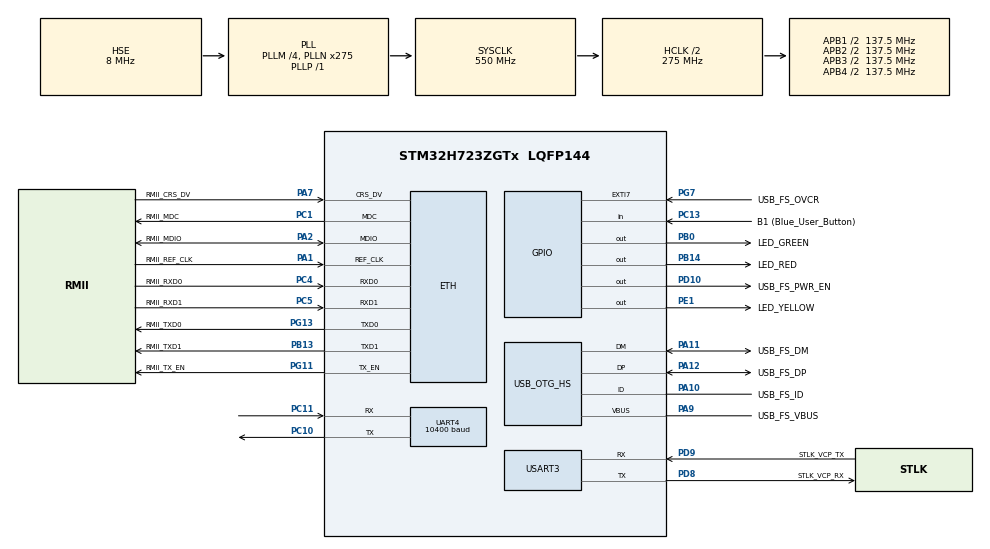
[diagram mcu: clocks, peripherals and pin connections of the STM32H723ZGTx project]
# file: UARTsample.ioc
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ETH.MediaInterface=HAL_ETH_RMII_MODE
Mcu.Family=STM32H7
Mcu.Name=STM32H723ZGTx
Mcu.Package=LQFP144
NVIC.PriorityGroup=NVIC_PRIORITYGROUP_4
NVIC.UART4_IRQn=true\:0\:0\:false\:false\:true\:true\:true\:true
PA1.GPIO_Label=RMII_REF_CLK
PA1.Mode=RMII
PA1.Signal=ETH_REF_CLK
PA10.GPIO_Label=USB_FS_ID
PA10.Mode=OTG/Dual-Role-Device-FS
PA10.Signal=USB_OTG_HS_ID
PA11.GPIO_Label=USB_FS_DM
PA11.Mode=OTG/Dual-Role-Device-FS
PA11.Signal=USB_OTG_HS_DM
PA12.GPIO_Label=USB_FS_DP
PA12.Mode=OTG/Dual-Role-Device-FS
PA12.Signal=USB_OTG_HS_DP
PA13(JTMS/SWDIO).GPIO_Label=SWDIO
PA13(JTMS/SWDIO).Mode=Trace_Asynchronous_SW
PA13(JTMS/SWDIO).Signal=DEBUG_JTMS-SWDIO
PA14(JTCK/SWCLK).GPIO_Label=SWCLK
PA14(JTCK/SWCLK).Mode=Trace_Asynchronous_SW
PA14(JTCK/SWCLK).Signal=DEBUG_JTCK-SWCLK
PA2.GPIO_Label=RMII_MDIO
PA2.Mode=RMII
PA2.Signal=ETH_MDIO
PA7.GPIO_Label=RMII_CRS_DV
PA7.Mode=RMII
PA7.Signal=ETH_CRS_DV
PA9.GPIO_Label=USB_FS_VBUS
PA9.Mode=Activate_VBUS_FS
PA9.Signal=USB_OTG_HS_VBUS
PB0.GPIO_Label=LED_GREEN
PB0.Signal=GPIO_Output
PB13.GPIO_Label=RMII_TXD1
PB13.Mode=RMII
PB13.Signal=ETH_TXD1
PB14.GPIO_Label=LED_RED
PB14.Signal=GPIO_Output
PB3(JTDO/TRACESWO).GPIO_Label=SWO
PB3(JTDO/TRACESWO).Mode=Trace_Asynchronous_SW
PB3(JTDO/TRACESWO).Signal=DEBUG_JTDO-SWO
PC1.GPIO_Label=RMII_MDC
PC1.Mode=RMII
PC1.Signal=ETH_MDC
PC10.Mode=Asynchronous
PC10.Signal=UART4_TX
PC11.Mode=Asynchronous
PC11.Signal=UART4_RX
PC13.GPIO_Label=B1 (Blue_User_Button)
PC13.Signal=GPIO_Input
PC14-OSC32_IN.Mode=LSE-External-Oscillator
PC14-OSC32_IN.Signal=RCC_OSC32_IN
PC15-OSC32_OUT.Mode=LSE-External-Oscillator
PC15-OSC32_OUT.Signal=RCC_OSC32_OUT
PC4.GPIO_Label=RMII_RXD0
PC4.Mode=RMII
PC4.Signal=ETH_RXD0
PC5.GPIO_Label=RMII_RXD1
PC5.Mode=RMII
PC5.Signal=ETH_RXD1
PD10.GPIO_Label=USB_FS_PWR_EN
PD10.Signal=GPIO_Output
PD8.GPIO_Label=STLK_VCP_RX
PD8.Mode=Asynchronous
PD8.Signal=USART3_TX
PD9.GPIO_Label=STLK_VCP_TX
PD9.Mode=Asynchronous
PD9.Signal=USART3_RX
PE1.GPIO_Label=LED_YELLOW
PE1.Signal=GPIO_Output
PG11.GPIO_Label=RMII_TX_EN
PG11.Mode=RMII
PG11.Signal=ETH_TX_EN
PG13.GPIO_Label=RMII_TXD0
PG13.Mode=RMII
PG13.Signal=ETH_TXD0
PG7.GPIO_Label=USB_FS_OVCR
PG7.Signal=GPXTI7
PH0-OSC_IN.GPIO_Label=MCO
PH0-OSC_IN.Mode=HSE-External-Clock-Source
PH0-OSC_IN.Signal=RCC_OSC_IN
PH1-OSC_OUT.Signal=RCC_OSC_OUT
ProjectManager.HeapSize=0x200
ProjectManager.StackSize=0x400
ProjectManager.TargetToolchain=STM32CubeIDE
RCC.ADCFreq_Value=76000000
RCC.APB1Freq_Value=137500000
RCC.APB2Freq_Value=137500000
RCC.APB3Freq_Value=137500000
RCC.APB4Freq_Value=137500000
RCC.CortexFreq_Value=550000000
RCC.D1PPRE=RCC_APB3_DIV2
RCC.D2PPRE1=RCC_APB1_DIV2
RCC.D2PPRE2=RCC_APB2_DIV2
RCC.D3PPRE=RCC_APB4_DIV2
RCC.DIVM1=4
RCC.DIVM2=1
RCC.DIVN1=275
RCC.DIVN2=19
RCC.DIVP1=1
RCC.DIVQ1=4
RCC.HCLKFreq_Value=275000000
RCC.HPRE=RCC_HCLK_DIV2
RCC.HSE_VALUE=8000000
RCC.PLLFRACN=0
RCC.PLLSourceVirtual=RCC_PLLSOURCE_HSE
RCC.SYSCLKFreq_VALUE=550000000
RCC.SYSCLKSource=RCC_SYSCLKSOURCE_PLLCLK
RCC.USBCLockSelection=RCC_USBCLKSOURCE_HSI48
RCC.USBFreq_Value=48000000
UART4.BaudRate=10400
USART3.VirtualMode-Asynchronous=VM_ASYNC
board=NUCLEO-H723ZG

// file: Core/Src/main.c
/* USER CODE BEGIN Header */
/**
  ******************************************************************************
  * @file           : main.c
  * @brief          : Main program body
  ******************************************************************************
  * @attention
  *
  * Copyright (c) 2024 STMicroelectronics.
  * All rights reserved.
  *
  * This software is licensed under terms that can be found in the LICENSE file
  * in the root directory of this software component.
  * If no LICENSE file comes with this software, it is provided AS-IS.
  *
  ******************************************************************************
  */
/* USER CODE END Header */
#include "main.h"
#include "string.h"

#if defined ( __ICCARM__ ) /*!< IAR Compiler */
#pragma location=0x30000000
ETH_DMADescTypeDef  DMARxDscrTab[ETH_RX_DESC_CNT]; /* Ethernet Rx DMA Descriptors */
#pragma location=0x30000200
ETH_DMADescTypeDef  DMATxDscrTab[ETH_TX_DESC_CNT]; /* Ethernet Tx DMA Descriptors */

#elif defined ( __CC_ARM )  /* MDK ARM Compiler */

__attribute__((at(0x30000000))) ETH_DMADescTypeDef  DMARxDscrTab[ETH_RX_DESC_CNT]; /* Ethernet Rx DMA Descriptors */
__attribute__((at(0x30000200))) ETH_DMADescTypeDef  DMATxDscrTab[ETH_TX_DESC_CNT]; /* Ethernet Tx DMA Descriptors */

#elif defined ( __GNUC__ ) /* GNU Compiler */
ETH_DMADescTypeDef DMARxDscrTab[ETH_RX_DESC_CNT] __attribute__((section(".RxDecripSection"))); /* Ethernet Rx DMA Descriptors */
ETH_DMADescTypeDef DMATxDscrTab[ETH_TX_DESC_CNT] __attribute__((section(".TxDecripSection")));   /* Ethernet Tx DMA Descriptors */

#endif

ETH_TxPacketConfig TxConfig;

ETH_HandleTypeDef heth;

UART_HandleTypeDef huart4;
UART_HandleTypeDef huart3;

void SystemClock_Config(void);
static void MX_GPIO_Init(void);
static void MX_ETH_Init(void);
static void MX_USART3_UART_Init(void);
static void MX_USB_OTG_HS_USB_Init(void);
static void MX_UART4_Init(void);

/* USER CODE BEGIN 0 */
#define BUFF_SIZE   (200)
#define CHAR_CR     (0x0d)
#define TRUE        (1)
#define FALSE       (0)

uint8_t flagRcved;              /* 受信完�?フラグ */
uint16_t rcvLength;             /* 受信???��?��??��?��?ータ数 */
uint8_t rcvBuffer[BUFF_SIZE];   /* 受信バッファ */
uint8_t sndBuffer[BUFF_SIZE];   /* 送信バッファ */

void HAL_UART_RxCpltCallback(UART_HandleTypeDef *huart)
{
    flagRcved = TRUE;           /* 受信完�?フラグ設???��?��??��?��? */
}

char* replace(char* s, const char* before, const char* after)
{

    const size_t before_len = strlen(before);
    if (before_len == 0) {
        return s;
    }

    const size_t after_len = strlen(after);
    char* p = s;

    for (;;) {

        // 置換する文字をを探す
        p = strstr(p, before);
        if (p == NULL) {
            // 見つからなければ、これ以上置換するものはないので終了する
            break;
        }

        // 置換対象にならない位置を計算
        const char* p2 = p + before_len;

        // 置換対象にならない位置(p2) 以降の文字を、置換の影響をうけない位置に移動
        memmove(p + after_len, p2, strlen(p2) + 1);

        // 置換する
        memcpy(p, after, after_len);

        // 探索開始位置をずらす
        p += after_len;
    }

    return s;
	}
/* USER CODE END 0 */

int main(void)
{

  /* MCU Configuration--------------------------------------------------------*/

  /* Reset of all peripherals, Initializes the Flash interface and the Systick. */
  HAL_Init();

  /* Configure the system clock */
  SystemClock_Config();

  /* Initialize all configured peripherals */
  MX_GPIO_Init();
  MX_ETH_Init();
  MX_USART3_UART_Init();
  MX_USB_OTG_HS_USB_Init();
  MX_UART4_Init();
  /* USER CODE BEGIN 2 */
  uint8_t msg[] = "hello world!\n\r";
  HAL_UART_Transmit(&huart4, msg, strlen((char*)msg), 100);
  /* USER CODE END 2 */

  /* Infinite loop */
  while (1)
  {
	  do
	      {
	        /* 受信割り込み開始 */
	        HAL_UART_Receive_IT(&huart4, rcvBuffer, 1);

	        /* 受信割り込み終了待ち */
	        while (flagRcved == FALSE)
	        {
	            ;
	        }

	        sndBuffer[rcvLength] = rcvBuffer[0];
	        rcvLength++;
	        flagRcved = FALSE;
	      } while ((rcvBuffer[0] != CHAR_CR) && (rcvLength < BUFF_SIZE));

	  	  /* ブレーク信号を送信 */
	  	  GPIO_InitTypeDef GPIO_InitStruct = {0};
	  	  //HAL_GPIO_DeInit(GPIOC, GPIO_PIN_10);
	  	  GPIO_InitStruct.Pin = GPIO_PIN_10;
	  	  GPIO_InitStruct.Mode = GPIO_MODE_OUTPUT_PP;
	  	  GPIO_InitStruct.Pull = GPIO_NOPULL;
	  	  GPIO_InitStruct.Speed = GPIO_SPEED_FREQ_LOW;
	  	  HAL_GPIO_Init(GPIOC, &GPIO_InitStruct);
	  	  HAL_GPIO_WritePin(GPIOC, GPIO_PIN_10, GPIO_PIN_RESET);
	  	  HAL_Delay(1000);
	  	  HAL_GPIO_WritePin(GPIOC, GPIO_PIN_10, GPIO_PIN_SET);

	  	  /* 再度UART TxピンをUARTに割り当て後、受信した内容を送信 */
	  	  GPIO_InitStruct.Pin = GPIO_PIN_10;
	  	  GPIO_InitStruct.Mode = GPIO_MODE_AF_PP;
	  	  GPIO_InitStruct.Pull = GPIO_NOPULL;
	  	  GPIO_InitStruct.Speed = GPIO_SPEED_FREQ_LOW;
	  	  GPIO_InitStruct.Alternate = GPIO_AF8_UART4;
	  	  HAL_GPIO_Init(GPIOC, &GPIO_InitStruct);
	  	  replace(sndBuffer, "BEFORE", "AFTER");
	      HAL_UART_Transmit_IT(&huart4, sndBuffer, rcvLength);
	      rcvLength = 0;
    /* USER CODE BEGIN 3 */
    /* USER CODE BEGIN 3 */
  }
  /* USER CODE END 3 */
}

void SystemClock_Config(void)
{
  RCC_OscInitTypeDef RCC_OscInitStruct = {0};
  RCC_ClkInitTypeDef RCC_ClkInitStruct = {0};

  /** Supply configuration update enable
  */
  HAL_PWREx_ConfigSupply(PWR_LDO_SUPPLY);

  /** Configure the main internal regulator output voltage
  */
  __HAL_PWR_VOLTAGESCALING_CONFIG(PWR_REGULATOR_VOLTAGE_SCALE0);

  while(!__HAL_PWR_GET_FLAG(PWR_FLAG_VOSRDY)) {}

  /** Initializes the RCC Oscillators according to the specified parameters
  * in the RCC_OscInitTypeDef structure.
  */
  RCC_OscInitStruct.OscillatorType = RCC_OSCILLATORTYPE_HSI48|RCC_OSCILLATORTYPE_HSE;
  RCC_OscInitStruct.HSEState = RCC_HSE_BYPASS;
  RCC_OscInitStruct.HSI48State = RCC_HSI48_ON;
  RCC_OscInitStruct.PLL.PLLState = RCC_PLL_ON;
  RCC_OscInitStruct.PLL.PLLSource = RCC_PLLSOURCE_HSE;
  RCC_OscInitStruct.PLL.PLLM = 4;
  RCC_OscInitStruct.PLL.PLLN = 275;
  RCC_OscInitStruct.PLL.PLLP = 1;
  RCC_OscInitStruct.PLL.PLLQ = 4;
  RCC_OscInitStruct.PLL.PLLR = 2;
  RCC_OscInitStruct.PLL.PLLRGE = RCC_PLL1VCIRANGE_1;
  RCC_OscInitStruct.PLL.PLLVCOSEL = RCC_PLL1VCOWIDE;
  RCC_OscInitStruct.PLL.PLLFRACN = 0;
  if (HAL_RCC_OscConfig(&RCC_OscInitStruct) != HAL_OK)
  {
    Error_Handler();
  }

  /** Initializes the CPU, AHB and APB buses clocks
  */
  RCC_ClkInitStruct.ClockType = RCC_CLOCKTYPE_HCLK|RCC_CLOCKTYPE_SYSCLK
                              |RCC_CLOCKTYPE_PCLK1|RCC_CLOCKTYPE_PCLK2
                              |RCC_CLOCKTYPE_D3PCLK1|RCC_CLOCKTYPE_D1PCLK1;
  RCC_ClkInitStruct.SYSCLKSource = RCC_SYSCLKSOURCE_PLLCLK;
  RCC_ClkInitStruct.SYSCLKDivider = RCC_SYSCLK_DIV1;
  RCC_ClkInitStruct.AHBCLKDivider = RCC_HCLK_DIV2;
  RCC_ClkInitStruct.APB3CLKDivider = RCC_APB3_DIV2;
  RCC_ClkInitStruct.APB1CLKDivider = RCC_APB1_DIV2;
  RCC_ClkInitStruct.APB2CLKDivider = RCC_APB2_DIV2;
  RCC_ClkInitStruct.APB4CLKDivider = RCC_APB4_DIV2;

  if (HAL_RCC_ClockConfig(&RCC_ClkInitStruct, FLASH_LATENCY_3) != HAL_OK)
  {
    Error_Handler();
  }
}

static void MX_ETH_Init(void)
{

   static uint8_t MACAddr[6];

  heth.Instance = ETH;
  MACAddr[0] = 0x00;
  MACAddr[1] = 0x80;
  MACAddr[2] = 0xE1;
  MACAddr[3] = 0x00;
  MACAddr[4] = 0x00;
  MACAddr[5] = 0x00;
  heth.Init.MACAddr = &MACAddr[0];
  heth.Init.MediaInterface = HAL_ETH_RMII_MODE;
  heth.Init.TxDesc = DMATxDscrTab;
  heth.Init.RxDesc = DMARxDscrTab;
  heth.Init.RxBuffLen = 1524;

  if (HAL_ETH_Init(&heth) != HAL_OK)
  {
    Error_Handler();
  }

  memset(&TxConfig, 0 , sizeof(ETH_TxPacketConfig));
  TxConfig.Attributes = ETH_TX_PACKETS_FEATURES_CSUM | ETH_TX_PACKETS_FEATURES_CRCPAD;
  TxConfig.ChecksumCtrl = ETH_CHECKSUM_IPHDR_PAYLOAD_INSERT_PHDR_CALC;
  TxConfig.CRCPadCtrl = ETH_CRC_PAD_INSERT;

}

static void MX_UART4_Init(void)
{

  huart4.Instance = UART4;
  huart4.Init.BaudRate = 10400;
  huart4.Init.WordLength = UART_WORDLENGTH_8B;
  huart4.Init.StopBits = UART_STOPBITS_1;
  huart4.Init.Parity = UART_PARITY_NONE;
  huart4.Init.Mode = UART_MODE_TX_RX;
  huart4.Init.HwFlowCtl = UART_HWCONTROL_NONE;
  huart4.Init.OverSampling = UART_OVERSAMPLING_16;
  huart4.Init.OneBitSampling = UART_ONE_BIT_SAMPLE_DISABLE;
  huart4.Init.ClockPrescaler = UART_PRESCALER_DIV1;
  huart4.AdvancedInit.AdvFeatureInit = UART_ADVFEATURE_NO_INIT;
  if (HAL_UART_Init(&huart4) != HAL_OK)
  {
    Error_Handler();
  }
  if (HAL_UARTEx_SetTxFifoThreshold(&huart4, UART_TXFIFO_THRESHOLD_1_8) != HAL_OK)
  {
    Error_Handler();
  }
  if (HAL_UARTEx_SetRxFifoThreshold(&huart4, UART_RXFIFO_THRESHOLD_1_8) != HAL_OK)
  {
    Error_Handler();
  }
  if (HAL_UARTEx_DisableFifoMode(&huart4) != HAL_OK)
  {
    Error_Handler();
  }

}

static void MX_USART3_UART_Init(void)
{

  huart3.Instance = USART3;
  huart3.Init.BaudRate = 115200;
  huart3.Init.WordLength = UART_WORDLENGTH_8B;
  huart3.Init.StopBits = UART_STOPBITS_1;
  huart3.Init.Parity = UART_PARITY_NONE;
  huart3.Init.Mode = UART_MODE_TX_RX;
  huart3.Init.HwFlowCtl = UART_HWCONTROL_NONE;
  huart3.Init.OverSampling = UART_OVERSAMPLING_16;
  huart3.Init.OneBitSampling = UART_ONE_BIT_SAMPLE_DISABLE;
  huart3.Init.ClockPrescaler = UART_PRESCALER_DIV1;
  huart3.AdvancedInit.AdvFeatureInit = UART_ADVFEATURE_NO_INIT;
  if (HAL_UART_Init(&huart3) != HAL_OK)
  {
    Error_Handler();
  }
  if (HAL_UARTEx_SetTxFifoThreshold(&huart3, UART_TXFIFO_THRESHOLD_1_8) != HAL_OK)
  {
    Error_Handler();
  }
  if (HAL_UARTEx_SetRxFifoThreshold(&huart3, UART_RXFIFO_THRESHOLD_1_8) != HAL_OK)
  {
    Error_Handler();
  }
  if (HAL_UARTEx_DisableFifoMode(&huart3) != HAL_OK)
  {
    Error_Handler();
  }

}

static void MX_USB_OTG_HS_USB_Init(void)
{

}

static void MX_GPIO_Init(void)
{
  GPIO_InitTypeDef GPIO_InitStruct = {0};

  /* GPIO Ports Clock Enable */
  __HAL_RCC_GPIOC_CLK_ENABLE();
  __HAL_RCC_GPIOH_CLK_ENABLE();
  __HAL_RCC_GPIOA_CLK_ENABLE();
  __HAL_RCC_GPIOB_CLK_ENABLE();
  __HAL_RCC_GPIOD_CLK_ENABLE();
  __HAL_RCC_GPIOG_CLK_ENABLE();
  __HAL_RCC_GPIOE_CLK_ENABLE();

  /*Configure GPIO pin Output Level */
  HAL_GPIO_WritePin(GPIOB, LED_GREEN_Pin|LED_RED_Pin, GPIO_PIN_RESET);

  /*Configure GPIO pin Output Level */
  HAL_GPIO_WritePin(USB_FS_PWR_EN_GPIO_Port, USB_FS_PWR_EN_Pin, GPIO_PIN_RESET);

  /*Configure GPIO pin Output Level */
  HAL_GPIO_WritePin(LED_YELLOW_GPIO_Port, LED_YELLOW_Pin, GPIO_PIN_RESET);

  /*Configure GPIO pin : B1_Pin */
  GPIO_InitStruct.Pin = B1_Pin;
  GPIO_InitStruct.Mode = GPIO_MODE_INPUT;
  GPIO_InitStruct.Pull = GPIO_NOPULL;
  HAL_GPIO_Init(B1_GPIO_Port, &GPIO_InitStruct);

  /*Configure GPIO pins : LED_GREEN_Pin LED_RED_Pin */
  GPIO_InitStruct.Pin = LED_GREEN_Pin|LED_RED_Pin;
  GPIO_InitStruct.Mode = GPIO_MODE_OUTPUT_PP;
  GPIO_InitStruct.Pull = GPIO_NOPULL;
  GPIO_InitStruct.Speed = GPIO_SPEED_FREQ_LOW;
  HAL_GPIO_Init(GPIOB, &GPIO_InitStruct);

  /*Configure GPIO pin : USB_FS_PWR_EN_Pin */
  GPIO_InitStruct.Pin = USB_FS_PWR_EN_Pin;
  GPIO_InitStruct.Mode = GPIO_MODE_OUTPUT_PP;
  GPIO_InitStruct.Pull = GPIO_NOPULL;
  GPIO_InitStruct.Speed = GPIO_SPEED_FREQ_LOW;
  HAL_GPIO_Init(USB_FS_PWR_EN_GPIO_Port, &GPIO_InitStruct);

  /*Configure GPIO pin : USB_FS_OVCR_Pin */
  GPIO_InitStruct.Pin = USB_FS_OVCR_Pin;
  GPIO_InitStruct.Mode = GPIO_MODE_IT_RISING;
  GPIO_InitStruct.Pull = GPIO_NOPULL;
  HAL_GPIO_Init(USB_FS_OVCR_GPIO_Port, &GPIO_InitStruct);

  /*Configure GPIO pin : USB_FS_VBUS_Pin */
  GPIO_InitStruct.Pin = USB_FS_VBUS_Pin;
  GPIO_InitStruct.Mode = GPIO_MODE_INPUT;
  GPIO_InitStruct.Pull = GPIO_NOPULL;
  HAL_GPIO_Init(USB_FS_VBUS_GPIO_Port, &GPIO_InitStruct);

  /*Configure GPIO pin : USB_FS_ID_Pin */
  GPIO_InitStruct.Pin = USB_FS_ID_Pin;
  GPIO_InitStruct.Mode = GPIO_MODE_AF_PP;
  GPIO_InitStruct.Pull = GPIO_NOPULL;
  GPIO_InitStruct.Speed = GPIO_SPEED_FREQ_LOW;
  GPIO_InitStruct.Alternate = GPIO_AF10_OTG1_HS;
  HAL_GPIO_Init(USB_FS_ID_GPIO_Port, &GPIO_InitStruct);

  /*Configure GPIO pin : LED_YELLOW_Pin */
  GPIO_InitStruct.Pin = LED_YELLOW_Pin;
  GPIO_InitStruct.Mode = GPIO_MODE_OUTPUT_PP;
  GPIO_InitStruct.Pull = GPIO_NOPULL;
  GPIO_InitStruct.Speed = GPIO_SPEED_FREQ_LOW;
  HAL_GPIO_Init(LED_YELLOW_GPIO_Port, &GPIO_InitStruct);

}

void Error_Handler(void)
{
  __disable_irq();
  while (1)
  {
  }
}
